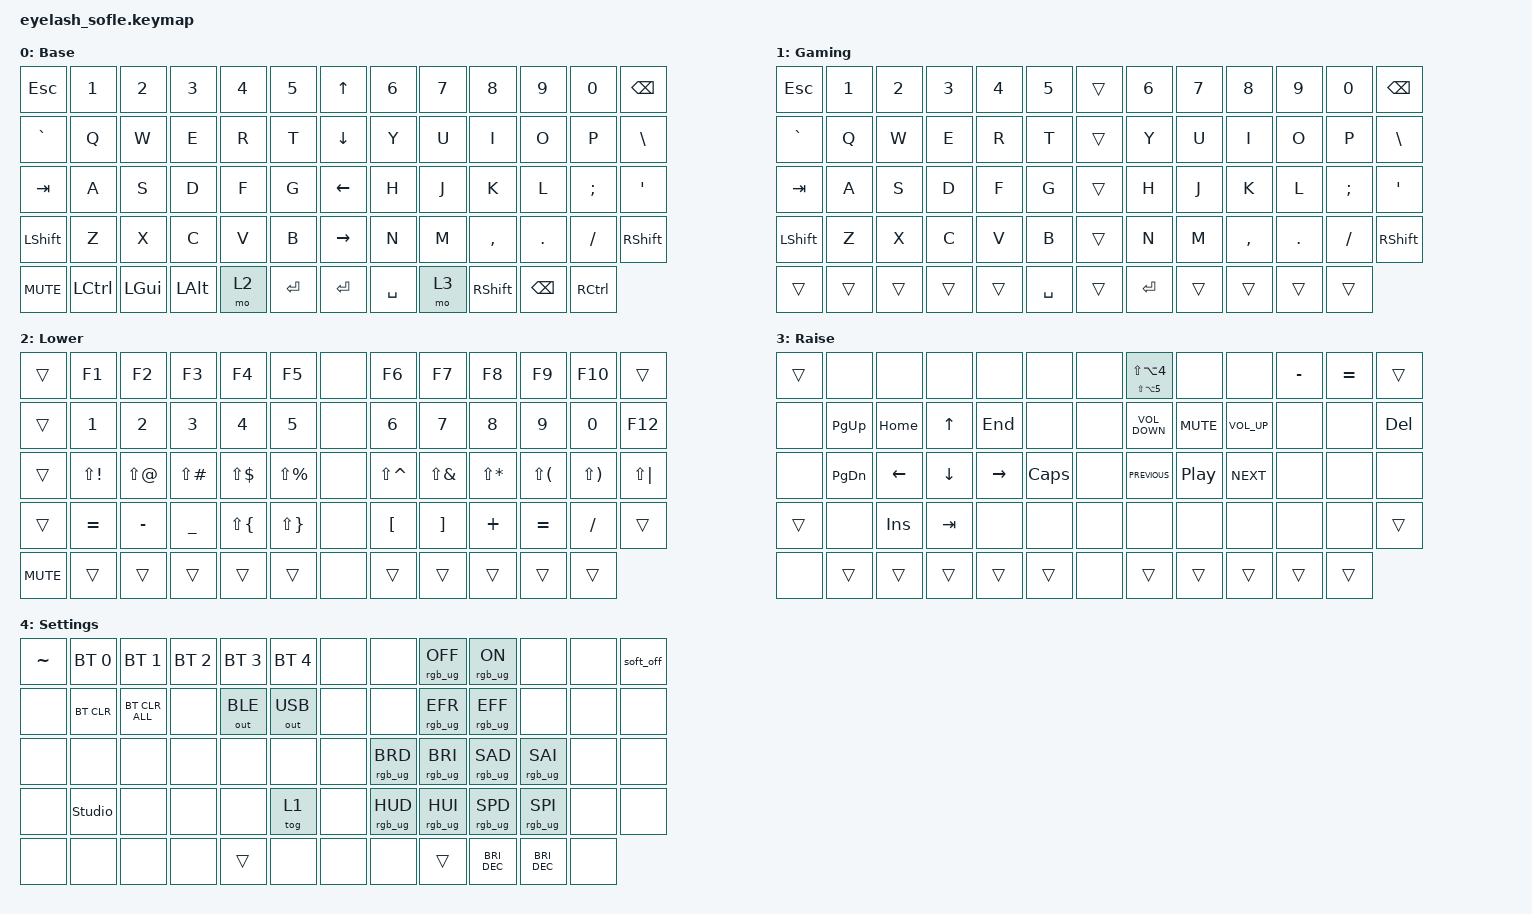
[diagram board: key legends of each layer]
#define ZMK_POINTING_DEFAULT_MOVE_VAL 1200  // 600
#define ZMK_POINTING_DEFAULT_SCRL_VAL 25   // 10

#include <input/processors.dtsi>
#include <zephyr/dt-bindings/input/input-event-codes.h>
#include <behaviors.dtsi>
#include <dt-bindings/zmk/bt.h>
#include <dt-bindings/zmk/keys.h>
#include <dt-bindings/zmk/outputs.h>
#include <dt-bindings/zmk/pointing.h>
#include <dt-bindings/zmk/rgb.h>

&mmv_input_listener { input-processors = <&zip_xy_scaler 2 1>; };

&msc_input_listener { input-processors = <&zip_scroll_scaler 2 1>; };

&msc {
    acceleration-exponent = <1>;      // 0
    time-to-max-speed-ms = <100>;       // 300
    delay-ms = <0>;                   // 0
};

&mmv {
    time-to-max-speed-ms = <500>;
    acceleration-exponent = <1>;
    trigger-period-ms = <16>;
};

&soft_off { hold-time-ms = <2000>; };

/ {
    scroll_encoder: scroll_encoder {
        compatible = "zmk,behavior-sensor-rotate";
        #sensor-binding-cells = <0>;
        bindings = <&msc SCRL_DOWN>, <&msc SCRL_UP>;

        tap-ms = <100>;
    };

    behaviors {
    };

    combos { compatible = "zmk,combos"; };

    keymap {
        compatible = "zmk,keymap";

        Base {
            bindings = <
&kp ESC         &kp N1     &kp N2        &kp N3        &kp N4  &kp N5       &kp UP_ARROW     &kp N6     &kp N7  &kp N8           &kp N9         &kp N0             &kp BACKSPACE
&kp GRAVE       &kp Q      &kp W         &kp E         &kp R   &kp T        &kp DOWN_ARROW   &kp Y      &kp U   &kp I            &kp O          &kp P              &kp BACKSLASH
&kp TAB         &kp A      &kp S         &kp D         &kp F   &kp G        &kp LEFT_ARROW   &kp H      &kp J   &kp K            &kp L          &kp SEMI           &kp APOS
&kp LEFT_SHIFT  &kp Z      &kp X         &kp C         &kp V   &kp B        &kp RIGHT_ARROW  &kp N      &kp M   &kp COMMA        &kp DOT        &kp FSLH           &kp RIGHT_SHIFT
&kp C_MUTE      &kp LCTRL  &kp LEFT_GUI  &kp LEFT_ALT  &mo 2   &kp ENTER    &kp ENTER        &kp SPACE  &mo 3   &kp RIGHT_SHIFT  &kp BACKSPACE  &kp RIGHT_CONTROL
            >;

            display-name = "Base";
        };

        Gaming {
            bindings = <
&kp ESC         &kp N1  &kp N2  &kp N3  &kp N4  &kp N5       &trans  &kp N6     &kp N7  &kp N8     &kp N9   &kp N0    &kp BSPC
&kp GRAVE       &kp Q   &kp W   &kp E   &kp R   &kp T        &trans  &kp Y      &kp U   &kp I      &kp O    &kp P     &kp BSLH
&kp TAB         &kp A   &kp S   &kp D   &kp F   &kp G        &trans  &kp H      &kp J   &kp K      &kp L    &kp SEMI  &kp SQT
&kp LEFT_SHIFT  &kp Z   &kp X   &kp C   &kp V   &kp B        &trans  &kp N      &kp M   &kp COMMA  &kp DOT  &kp FSLH  &kp RIGHT_SHIFT
&trans          &trans  &trans  &trans  &trans  &kp SPACE    &trans  &kp ENTER  &trans  &trans     &trans   &trans
            >;

            label = "Gaming";
        };

        Lower {
            display-name = "Lower";
            bindings = <
&trans      &kp F1        &kp F2      &kp F3          &kp F4        &kp F5           &none  &kp F6         &kp F7        &kp F8        &kp F9        &kp F10       &trans
&trans      &kp N1        &kp N2      &kp N3          &kp N4        &kp N5           &none  &kp N6         &kp N7        &kp N8        &kp N9        &kp N0        &kp F12
&trans      &kp LS(EXCL)  &kp LS(AT)  &kp LS(POUND)   &kp LS(DLLR)  &kp LS(PRCNT)    &none  &kp LS(CARET)  &kp LS(AMPS)  &kp LS(STAR)  &kp LS(LPAR)  &kp LS(RPAR)  &kp LS(PIPE)
&trans      &kp EQUAL     &kp MINUS   &kp UNDERSCORE  &kp LS(LBRC)  &kp LS(RBRC)     &none  &kp LBKT       &kp RBKT      &kp PLUS      &kp EQUAL     &kp FSLH      &trans
&kp C_MUTE  &trans        &trans      &trans          &trans        &trans           &none  &trans         &trans        &trans        &trans        &trans
            >;
        };

        Raise {
            display-name = "Raise";
            bindings = <
&trans  &none      &none       &none     &none      &none           &none  &mt LS(LA(N5)) LS(LA(NUMBER_4))  &none             &none            &kp MINUS  &kp EQUAL  &trans
&none   &kp PG_UP  &kp HOME    &kp UP    &kp END    &none           &none  &kp C_VOLUME_DOWN                &kp C_MUTE        &kp C_VOLUME_UP  &none      &none      &kp DELETE
&none   &kp PG_DN  &kp LEFT    &kp DOWN  &kp RIGHT  &kp CAPSLOCK    &none  &kp C_PREVIOUS                   &kp C_PLAY_PAUSE  &kp C_NEXT       &none      &none      &none
&trans  &none      &kp INSERT  &kp TAB   &none      &none           &none  &none                            &none             &none            &none      &none      &trans
&none   &trans     &trans      &trans    &trans     &trans          &none  &trans                           &trans            &trans           &trans     &trans
            >;
        };

        Settings {
            display-name = "Settings";
            bindings = <
&kp TILDE  &bt BT_SEL 0    &bt BT_SEL 1    &bt BT_SEL 2  &bt BT_SEL 3  &bt BT_SEL 4    &none  &none            &rgb_ug RGB_OFF  &rgb_ug RGB_ON        &none                 &none  &soft_off
&none      &bt BT_CLR      &bt BT_CLR_ALL  &none         &out OUT_BLE  &out OUT_USB    &none  &none            &rgb_ug RGB_EFR  &rgb_ug RGB_EFF       &none                 &none  &none
&none      &none           &none           &none         &none         &none           &none  &rgb_ug RGB_BRD  &rgb_ug RGB_BRI  &rgb_ug RGB_SAD       &rgb_ug RGB_SAI       &none  &none
&none      &studio_unlock  &none           &none         &none         &tog 1          &none  &rgb_ug RGB_HUD  &rgb_ug RGB_HUI  &rgb_ug RGB_SPD       &rgb_ug RGB_SPI       &none  &none
&none      &none           &none           &none         &trans        &none           &none  &none            &trans           &kp C_BRIGHTNESS_DEC  &kp C_BRIGHTNESS_DEC  &none
            >;
        };
    };

    conditional_layers {
        compatible = "zmk,conditional-layers";

        show_settings {
            if-layers = <4 2>;
            then-layer = <5>;
        };
    };
};
